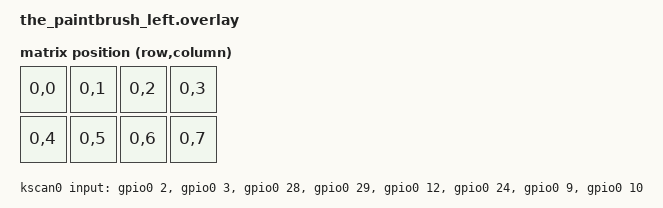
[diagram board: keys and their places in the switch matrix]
/*
 * Copyright (c) 2021 Mike "KemoNine" Crosson
 * SPDX-License-Identifier: MIT
 */

#include <dt-bindings/zmk/matrix_transform.h>

/ {
    chosen {
        zmk,kscan = &kscan0;
        zmk,matrix_transform = &default_transform;
    };

    default_transform: keymap_transform_0 {
        compatible = "zmk,matrix-transform";
        columns = <8>;
        rows = <1>;
        map = <
            RC(0,0) RC(0,1) RC(0,2) RC(0,3)
            RC(0,4) RC(0,5) RC(0,6) RC(0,7)
        >;
    };

    kscan0: kscan {
        compatible = "zmk,kscan-gpio-direct";
        label = "KSCAN";
        
        input-gpios
            = <&gpio0 2  (GPIO_ACTIVE_LOW | GPIO_PULL_UP)>   // A0 -> P0.02
            , <&gpio0 3  (GPIO_ACTIVE_LOW | GPIO_PULL_UP)>   // A1 -> P0.03
            , <&gpio0 28 (GPIO_ACTIVE_LOW | GPIO_PULL_UP)>   // A2 -> P0.28
            , <&gpio0 29 (GPIO_ACTIVE_LOW | GPIO_PULL_UP)>   // A3 -> P0.29
            , <&gpio0 12 (GPIO_ACTIVE_LOW | GPIO_PULL_UP)>   // D10 -> P0.12
            , <&gpio0 24 (GPIO_ACTIVE_LOW | GPIO_PULL_UP)>   // D16 -> P0.24
            , <&gpio0 9  (GPIO_ACTIVE_LOW | GPIO_PULL_UP)>   // D14 -> P0.09
            , <&gpio0 10 (GPIO_ACTIVE_LOW | GPIO_PULL_UP)>   // D15 -> P0.10
            ;
    };
};

&i2c0 {
    compatible = "nordic,nrf-twim";
    status = "okay";
    sda-pin = <4>;   // P0.04
    scl-pin = <5>;   // P0.05

    oled: ssd1306@3c {
        compatible = "solomon,ssd1306fb";
        reg = <0x3c>;
        label = "DISPLAY";
        width = <128>;
        height = <32>;
        segment-offset = <0>;
        page-offset = <0>;
        display-offset = <0>;
        multiplex-ratio = <31>;
        segment-remap;
        com-invdir;
        prechargep = <0x22>;
        clock-frequency = <I2C_BITRATE_STANDARD>;
    };
};
